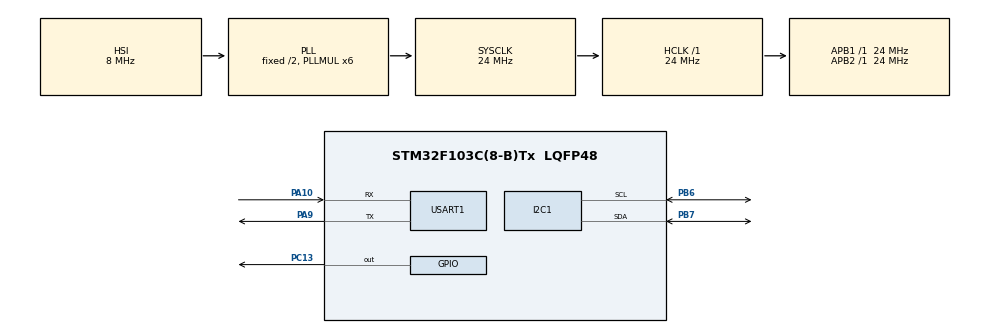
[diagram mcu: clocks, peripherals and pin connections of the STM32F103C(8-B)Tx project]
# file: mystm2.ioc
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Dma.Request0=USART1_RX
Dma.Request1=USART1_TX
Dma.USART1_RX.0.Direction=DMA_PERIPH_TO_MEMORY
Dma.USART1_RX.0.Instance=DMA1_Channel5
Dma.USART1_RX.0.MemDataAlignment=DMA_MDATAALIGN_BYTE
Dma.USART1_RX.0.MemInc=DMA_MINC_ENABLE
Dma.USART1_RX.0.Mode=DMA_NORMAL
Dma.USART1_RX.0.PeriphDataAlignment=DMA_PDATAALIGN_BYTE
Dma.USART1_RX.0.PeriphInc=DMA_PINC_DISABLE
Dma.USART1_RX.0.Priority=DMA_PRIORITY_LOW
Dma.USART1_TX.1.Direction=DMA_MEMORY_TO_PERIPH
Dma.USART1_TX.1.Instance=DMA1_Channel4
Dma.USART1_TX.1.MemDataAlignment=DMA_MDATAALIGN_BYTE
Dma.USART1_TX.1.MemInc=DMA_MINC_ENABLE
Dma.USART1_TX.1.Mode=DMA_NORMAL
Dma.USART1_TX.1.PeriphDataAlignment=DMA_PDATAALIGN_BYTE
Dma.USART1_TX.1.PeriphInc=DMA_PINC_DISABLE
Dma.USART1_TX.1.Priority=DMA_PRIORITY_LOW
Mcu.Family=STM32F1
Mcu.Name=STM32F103C(8-B)Tx
Mcu.Package=LQFP48
NVIC.DMA1_Channel4_IRQn=true\:0\:0\:false\:false\:true\:false\:true\:true
NVIC.DMA1_Channel5_IRQn=true\:0\:0\:false\:false\:true\:false\:true\:true
NVIC.PriorityGroup=NVIC_PRIORITYGROUP_4
NVIC.USART1_IRQn=true\:0\:0\:false\:false\:true\:true\:true\:true
PA10.Mode=Asynchronous
PA10.Signal=USART1_RX
PA13.Mode=Serial_Wire
PA13.Signal=SYS_JTMS-SWDIO
PA14.Mode=Serial_Wire
PA14.Signal=SYS_JTCK-SWCLK
PA9.Mode=Asynchronous
PA9.Signal=USART1_TX
PB6.Mode=I2C
PB6.Signal=I2C1_SCL
PB7.Mode=I2C
PB7.Signal=I2C1_SDA
PC13-TAMPER-RTC.Signal=GPIO_Output
ProjectManager.HeapSize=0x200
ProjectManager.StackSize=0x400
ProjectManager.TargetToolchain=STM32CubeIDE
RCC.AHBFreq_Value=24000000
RCC.APB1Freq_Value=24000000
RCC.APB1TimFreq_Value=24000000
RCC.APB2Freq_Value=24000000
RCC.APB2TimFreq_Value=24000000
RCC.HCLKFreq_Value=24000000
RCC.PLLMUL=RCC_PLL_MUL6
RCC.SYSCLKFreq_VALUE=24000000
RCC.SYSCLKSource=RCC_SYSCLKSOURCE_PLLCLK
RCC.USBFreq_Value=24000000
USART1.VirtualMode=VM_ASYNC
board=custom

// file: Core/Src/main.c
/* USER CODE BEGIN Header */
/**
  ******************************************************************************
  * @file           : main.c
  * @brief          : Main program body
  ******************************************************************************
  * @attention
  *
  * Copyright (c) 2025 STMicroelectronics.
  * All rights reserved.
  *
  * This software is licensed under terms that can be found in the LICENSE file
  * in the root directory of this software component.
  * If no LICENSE file comes with this software, it is provided AS-IS.
  *
  ******************************************************************************
  */
/* USER CODE END Header */
#include "main.h"

/* USER CODE BEGIN Includes */
#include "ssd1306.h"
#include "ssd1306_fonts.h"
#include <string.h>
#include <stdio.h>
#include <stdint.h>
#include <stdarg.h>

/* USER CODE END Includes */

/* USER CODE BEGIN PD */
#define BUF_SIZE 1024
#define IMAGE_BUF_SIZE 2*BUF_SIZE
/* USER CODE END PD */

I2C_HandleTypeDef hi2c1;

UART_HandleTypeDef huart1;
DMA_HandleTypeDef hdma_usart1_rx;
DMA_HandleTypeDef hdma_usart1_tx;

void SystemClock_Config(void);
static void MX_GPIO_Init(void);
static void MX_DMA_Init(void);
static void MX_I2C1_Init(void);
static void MX_USART1_UART_Init(void);

/* USER CODE BEGIN 0 */
volatile uint8_t uart_tx_done = 1;
volatile uint8_t filled = 0;
uint8_t* rxbuf[IMAGE_BUF_SIZE];
volatile uint8_t frame_ready = 0;

char CPU_BUF[BUF_SIZE];
char DMA_BUF[BUF_SIZE];

char *fill = CPU_BUF;
char *send = DMA_BUF;

void StartReception(void) {
    __HAL_UART_ENABLE_IT(&huart1, UART_IT_IDLE);

    HAL_UART_Receive_DMA(&huart1, rx_buffer, BUFFER_SIZE);
}

void HAL_UART_TxCpltCallback(UART_HandleTypeDef *huart)
{
    if (huart->Instance == USART1) {
        uart_tx_done = 1;
    }
}

void UART_Printf(const char* fmt, ...) {
    char buffer[100];
    va_list args;
    va_start(args, fmt);
    vsnprintf(buffer, sizeof(buffer), fmt, args);
    va_end(args);
    HAL_UART_Transmit(&huart1, (uint8_t*)buffer, strlen(buffer), 100);
}

void UART_Printf_DMA(const char* fmt, ...) {
	uart_tx_done = 0;
    char buffer[1028];
    va_list args;
    va_start(args, fmt);
    vsnprintf(buffer, sizeof(buffer), fmt, args);
    va_end(args);
    HAL_UART_Transmit_DMA(&huart1, (uint8_t*)buffer, 1028);
//    while(!uart_tx_done);
}

uint32_t Benchmark_UART(void)
{
    static const char msg[] = "Lorem ipsum dolor sit amet, consectetur adipiscing elit. Nam dolor ligula, sollicitudin tincidunt aliquam ac, mattis faucibus sem. Etiam commodo, sem semper consequat scelerisque, risus felis malesuada neque, vel faucibus nibh risus ut erat. Orci varius natoque penatibus et magnis dis parturient montes, nascetur ridiculus mus. Vestibulum nunc magna, tristique vitae tempus quis, egestas eu lectus. Mauris eget ultrices leo. Sed a velit a ante auctor pellentesque eu a mauris. Phasellus eget suscipit metus, vitae sodales libero. Morbi pharetra consequat felis. Sed luctus urna vel arcu hendrerit semper. Vivamus sem tortor, commodo eget quam nec, mollis iaculis diam. Ut placerat non mauris quis rutrum. Ut sit amet ipsum urna. Aenean ultricies ipsum quis mauris pulvinar, vitae vehicula nisl tempus. Praesent luctus est nec sollicitudin mattis. Integer non turpis iaculis, lacinia leo quis, euismod lacus. Curabitur lobortis lorem dolor, vitae volutpat mauris facilisis et. Etiam lacinia in quam eget fringilla. Ut aenean.\r\n";
    uint32_t start, end;
    uint32_t len = strlen(msg);
    // Enable Cycle Counter
    CoreDebug->DEMCR |= CoreDebug_DEMCR_TRCENA_Msk;
    DWT->CTRL |= DWT_CTRL_CYCCNTENA_Msk;

    // 1. BLOCKING UART (HAL_UART_Transmit)
    DWT->CYCCNT = 0;
    start = DWT->CYCCNT;
    HAL_UART_Transmit(&huart1, (uint8_t*)msg, len, HAL_MAX_DELAY);
    end = DWT->CYCCNT;
    uint32_t cycles_blocking = end - start;

    HAL_Delay(5);
    UART_Printf("Blocking UART cycles:       %lu\r\n", cycles_blocking);
    HAL_Delay(5);

    // 2. DMA UART (HAL_UART_Transmit_DMA)
    uart_tx_done = 0;
    DWT->CYCCNT = 0;
    start = DWT->CYCCNT;
    HAL_UART_Transmit_DMA(&huart1, (uint8_t*)msg, len);
    end = DWT->CYCCNT;
    uint32_t cycles_dma_start = end - start;

    // Wait for DMA to complete (measuring full TX time)
    while (!uart_tx_done);
    // Measure full end-to-end DMA transmission time
    uint32_t cycles_dma_total = DWT->CYCCNT;
    UART_Printf("DMA UART start cost cycles: %lu\r\n", cycles_dma_start);
    UART_Printf("DMA total cycles:           %lu\r\n", cycles_dma_total);

    return cycles_dma_start;
}

/* USER CODE END 0 */

int main(void)
{

  /* MCU Configuration--------------------------------------------------------*/

  /* Reset of all peripherals, Initializes the Flash interface and the Systick. */
  HAL_Init();

  /* Configure the system clock */
  SystemClock_Config();

  /* Initialize all configured peripherals */
  MX_GPIO_Init();
  MX_DMA_Init();
  MX_I2C1_Init();
  MX_USART1_UART_Init();
  /* USER CODE BEGIN 2 */
  uint32_t start, end;
  static const char msg1[] = "Lorem ipsum dolor sit amet, consectetur adipiscing elit. Nam dolor ligula, sollicitudin tincidunt aliquam ac, mattis faucibus sem. Etiam commodo, sem semper consequat scelerisque, risus felis malesuada neque, vel faucibus nibh risus ut erat. Orci varius natoque penatibus et magnis dis parturient montes, nascetur ridiculus mus. Vestibulum nunc magna, tristique vitae tempus quis, egestas eu lectus. Mauris eget ultrices leo. Sed a velit a ante auctor pellentesque eu a mauris. Phasellus eget suscipit metus, vitae sodales libero. Morbi pharetra consequat felis. Sed luctus urna vel arcu hendrerit semper. Vivamus sem tortor, commodo eget quam nec, mollis iaculis diam. Ut placerat non mauris quis rutrum. Ut sit amet ipsum urna. Aenean ultricies ipsum quis mauris pulvinar, vitae vehicula nisl tempus. Praesent luctus est nec sollicitudin mattis. Integer non turpis iaculis, lacinia leo quis, euismod lacus. Curabitur lobortis lorem dolor, vitae volutpat mauris facilisis et. Etiam lacinia in quam eget fringilla. Ut aenean.\r\n";
//  uint32_t msglen = strlen(msg1);
  CoreDebug->DEMCR |= CoreDebug_DEMCR_TRCENA_Msk;
  DWT->CTRL |= DWT_CTRL_CYCCNTENA_Msk;
  DWT->CYCCNT = 0;
  int16_t image[IMAGE_BUF_SIZE];
  StartReception();

  /* USER CODE END 2 */

  /* Infinite loop */
  while (1)
  {

    /* USER CODE BEGIN 3 */
	  ssd1306_Init();
	  ssd1306_SetCursor(0, 0);
//	  ssd1306_WriteString("Resampling...", Font_6x8, White);
//	  ssd1306_UpdateScreen();
	  HAL_GPIO_TogglePin(GPIOC, GPIO_PIN_13); // Toggle LED
//	  UART_Printf("START_DATA\r\n");
//	  for(int i = 0; i < 100; i++) {
//		  UART_Printf("%d\r\n", i); // Simulate DSP data
//		  UART_Printf("1Lorem ipsum dolor sit amet, consectetur adipiscing elit. Nam dolor ligula, sollicitudin tincidunt");
//		  UART_Printf("2aliquam ac, mattis faucibus sem. Etiam commodo, sem semper consequat scelerisque, risus felis males");
//		  UART_Printf("3uada neque,");
//		  UART_Printf("4vel faucibus nibh risus ut erat. Orci varius natoque penatibus et magnis dis parturient montes,");
//		  UART_Printf("5nascetur ridiculus mus. Vestibulum nunc magna, tristique vitae tempus quis, egestas eu lectus.");
//		  UART_Printf("6Mauris eget ultrices leo. Sed a velit a ante auctor pellentesque eu a mauris.");
//		  UART_Printf("7Phasellus eget suscipit metus, vitae sodales libero. Morbi pharetra consequat felis. Sed luctus");
//		  UART_Printf("8urna vel arcu hendrerit semper. Vivamus sem tortor, commodo eget quam nec, mollis iaculis diam.");
//		  UART_Printf("9 Ut placerat non mauris quis rutrum. Ut sit amet ipsum urna. Aenean ultricies ipsum quis mauris");
//		  UART_Printf("10pulvinar, vitae vehicula nisl tempus. Praesent luctus est nec sollicitudin mattis. Integer non");
//		  UART_Printf("11turpis iaculis, lacinia leo quis, euismod lacus. Curabitur lobortis lorem dolor, vitae volutpat ");
//		  UART_Printf("12mauris facilisis et. Etiam lacinia in quam eget fringilla. Ut aenean.\n");
//	  }
//	  UART_Printf("\nEND_DATA\r\n");
	  HAL_Delay(100);
	  HAL_GPIO_TogglePin(GPIOC, GPIO_PIN_13);
	  if(frame_ready) {
		  frame_ready = 0;
		  image = (int16_t*)&rxbuf[1];
	  }
//	  Benchmark_UART();
//	  start = DWT->CYCCNT;
//	  UART_Printf_DMA(msg1);
//	  end = DWT->CYCCNT;
//	  while (!uart_tx_done);
//	  UART_Printf("Cycles from user def fn: %lu\r\n", end-start);
//	  char cyclestr[16];
//	  sprintf(cyclestr, "%lu", end-start);
//	  ssd1306_WriteString(cyclestr, Font_6x8, White);
//	  ssd1306_UpdateScreen();
	  HAL_Delay(1000);
  }
  /* USER CODE END 3 */
}

void SystemClock_Config(void)
{
  RCC_OscInitTypeDef RCC_OscInitStruct = {0};
  RCC_ClkInitTypeDef RCC_ClkInitStruct = {0};

  /** Initializes the RCC Oscillators according to the specified parameters
  * in the RCC_OscInitTypeDef structure.
  */
  RCC_OscInitStruct.OscillatorType = RCC_OSCILLATORTYPE_HSI;
  RCC_OscInitStruct.HSIState = RCC_HSI_ON;
  RCC_OscInitStruct.HSICalibrationValue = RCC_HSICALIBRATION_DEFAULT;
  RCC_OscInitStruct.PLL.PLLState = RCC_PLL_ON;
  RCC_OscInitStruct.PLL.PLLSource = RCC_PLLSOURCE_HSI_DIV2;
  RCC_OscInitStruct.PLL.PLLMUL = RCC_PLL_MUL6;
  if (HAL_RCC_OscConfig(&RCC_OscInitStruct) != HAL_OK)
  {
    Error_Handler();
  }

  /** Initializes the CPU, AHB and APB buses clocks
  */
  RCC_ClkInitStruct.ClockType = RCC_CLOCKTYPE_HCLK|RCC_CLOCKTYPE_SYSCLK
                              |RCC_CLOCKTYPE_PCLK1|RCC_CLOCKTYPE_PCLK2;
  RCC_ClkInitStruct.SYSCLKSource = RCC_SYSCLKSOURCE_PLLCLK;
  RCC_ClkInitStruct.AHBCLKDivider = RCC_SYSCLK_DIV1;
  RCC_ClkInitStruct.APB1CLKDivider = RCC_HCLK_DIV1;
  RCC_ClkInitStruct.APB2CLKDivider = RCC_HCLK_DIV1;

  if (HAL_RCC_ClockConfig(&RCC_ClkInitStruct, FLASH_LATENCY_0) != HAL_OK)
  {
    Error_Handler();
  }
}

static void MX_I2C1_Init(void)
{

  hi2c1.Instance = I2C1;
  hi2c1.Init.ClockSpeed = 100000;
  hi2c1.Init.DutyCycle = I2C_DUTYCYCLE_2;
  hi2c1.Init.OwnAddress1 = 0;
  hi2c1.Init.AddressingMode = I2C_ADDRESSINGMODE_7BIT;
  hi2c1.Init.DualAddressMode = I2C_DUALADDRESS_DISABLE;
  hi2c1.Init.OwnAddress2 = 0;
  hi2c1.Init.GeneralCallMode = I2C_GENERALCALL_DISABLE;
  hi2c1.Init.NoStretchMode = I2C_NOSTRETCH_DISABLE;
  if (HAL_I2C_Init(&hi2c1) != HAL_OK)
  {
    Error_Handler();
  }

}

static void MX_USART1_UART_Init(void)
{

  huart1.Instance = USART1;
  huart1.Init.BaudRate = 115200;
  huart1.Init.WordLength = UART_WORDLENGTH_8B;
  huart1.Init.StopBits = UART_STOPBITS_1;
  huart1.Init.Parity = UART_PARITY_NONE;
  huart1.Init.Mode = UART_MODE_TX_RX;
  huart1.Init.HwFlowCtl = UART_HWCONTROL_NONE;
  huart1.Init.OverSampling = UART_OVERSAMPLING_16;
  if (HAL_UART_Init(&huart1) != HAL_OK)
  {
    Error_Handler();
  }

}

static void MX_DMA_Init(void)
{

  /* DMA controller clock enable */
  __HAL_RCC_DMA1_CLK_ENABLE();

  /* DMA interrupt init */
  /* DMA1_Channel4_IRQn interrupt configuration */
  HAL_NVIC_SetPriority(DMA1_Channel4_IRQn, 0, 0);
  HAL_NVIC_EnableIRQ(DMA1_Channel4_IRQn);
  /* DMA1_Channel5_IRQn interrupt configuration */
  HAL_NVIC_SetPriority(DMA1_Channel5_IRQn, 0, 0);
  HAL_NVIC_EnableIRQ(DMA1_Channel5_IRQn);

}

static void MX_GPIO_Init(void)
{
  GPIO_InitTypeDef GPIO_InitStruct = {0};

  /* GPIO Ports Clock Enable */
  __HAL_RCC_GPIOC_CLK_ENABLE();
  __HAL_RCC_GPIOA_CLK_ENABLE();
  __HAL_RCC_GPIOB_CLK_ENABLE();

  /*Configure GPIO pin Output Level */
  HAL_GPIO_WritePin(GPIOC, GPIO_PIN_13, GPIO_PIN_RESET);

  /*Configure GPIO pin : PC13 */
  GPIO_InitStruct.Pin = GPIO_PIN_13;
  GPIO_InitStruct.Mode = GPIO_MODE_OUTPUT_PP;
  GPIO_InitStruct.Pull = GPIO_NOPULL;
  GPIO_InitStruct.Speed = GPIO_SPEED_FREQ_LOW;
  HAL_GPIO_Init(GPIOC, &GPIO_InitStruct);

}

void Error_Handler(void)
{
  __disable_irq();
  while (1)
  {
  }
}
